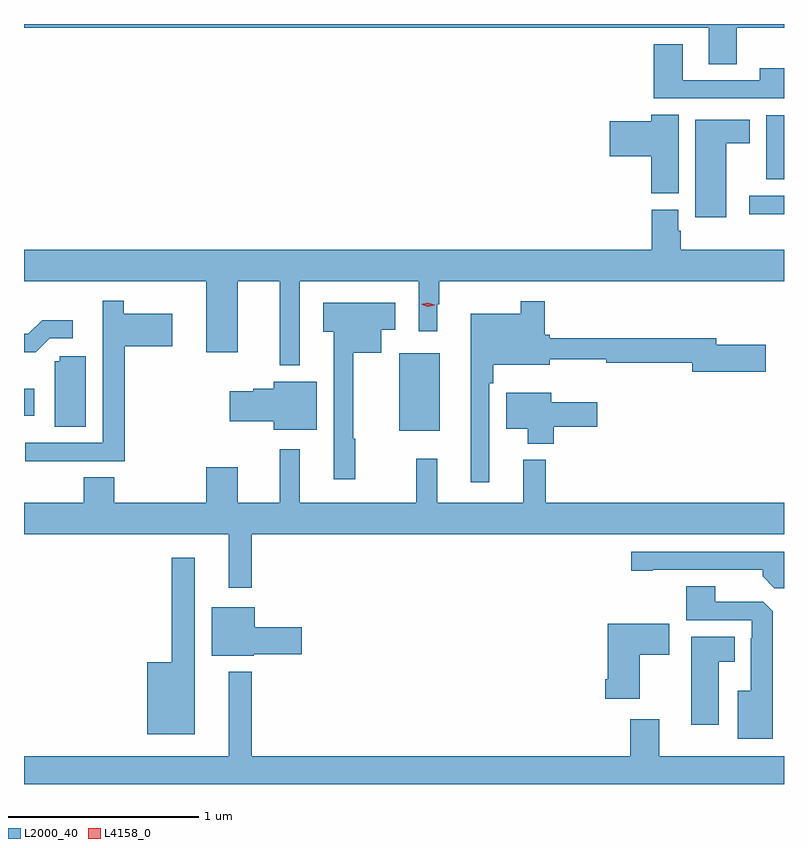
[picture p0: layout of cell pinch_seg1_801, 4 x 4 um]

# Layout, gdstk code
import gdstk
lib = gdstk.Library(unit=1e-6, precision=1e-09)
def R(c, l, rs):  # rectangles x0, y0, x1, y1
    for r in rs: c.add(gdstk.rectangle(r[:2], r[2:], *l))
def P(c, l, *ps):  # polygons
    for p in ps: c.add(gdstk.Polygon(p, *l))
L2000_40 = (2000, 40)
L4158_0 = (4158, 0)

pinch_seg1_801 = lib.new_cell('pinch_seg1_801')
R(pinch_seg1_801, L2000_40, [(417.77,558.935,417.985,559.345), (415.796,559.016,415.849,559.156), (419.613,560.075,419.796,560.172), (419.702,560.261,419.796,560.596)])
P(pinch_seg1_801, L2000_40, [(419.547,561.056),(419.796,561.056),(419.796,561.077),(415.796,561.077),(415.796,561.056),(419.399,561.056),(419.399,560.866),(419.547,560.866)],
  [(419.796,560.845),(419.668,560.845),(419.668,560.781),(419.263,560.781),(419.263,560.971),(419.111,560.971),(419.111,560.685),(419.796,560.685)],
  [(419.242,560.6),(419.096,560.6),(419.096,560.564),(418.878,560.564),(418.878,560.381),(419.096,560.381),(419.096,560.185),(419.242,560.185)],
  [(419.491,560.45),(419.617,560.45),(419.617,560.572),(419.33,560.572),(419.33,560.06),(419.491,560.06)],
  [(417.247,559.724),(417.873,559.724),(417.873,559.461),(417.97,559.461),(417.97,559.601),(417.982,559.601),(417.982,559.724),(419.796,559.724),(419.796,559.888),(419.252,559.888),(419.252,559.989),(419.239,559.989),(419.239,560.1),(419.099,560.1),(419.099,559.888),(415.796,559.888),(415.796,559.724),(416.756,559.724),(416.756,559.35),(416.92,559.35),(416.92,559.724),(417.143,559.724),(417.143,559.28),(417.247,559.28)],
  [(416.027,558.777),(416.327,558.777),(416.327,559.382),(416.575,559.382),(416.575,559.552),(416.32,559.552),(416.32,559.621),(416.21,559.621),(416.21,559.398),(416.211,559.398),(416.211,558.873),(415.803,558.873),(415.803,558.775),(416.027,558.775)],
  [(418.245,559.187),(418.265,559.187),(418.265,559.283),(418.564,559.283),(418.564,559.312),(418.86,559.312),(418.86,559.294),(419.312,559.294),(419.312,559.247),(419.701,559.247),(419.701,559.389),(419.44,559.389),(419.44,559.423),(418.564,559.423),(418.564,559.441),(418.538,559.441),(418.538,559.618),(418.41,559.618),(418.41,559.552),(418.148,559.552),(418.148,558.666),(418.245,558.666)],
  [(417.539,558.893),(417.529,558.893),(417.529,559.346),(417.676,559.346),(417.676,559.469),(417.751,559.469),(417.751,559.609),(417.371,559.609),(417.371,559.457),(417.425,559.457),(417.425,558.681),(417.539,558.681)],
  [(415.932,559.422),(416.053,559.422),(416.053,559.519),(415.891,559.519),(415.818,559.446),(415.796,559.446),(415.796,559.349),(415.859,559.349)],
  [(416.122,559.329),(415.983,559.329),(415.983,559.302),(415.958,559.302),(415.958,558.958),(416.122,558.958)],
  [(417.337,559.195),(417.11,559.195),(417.11,559.157),(417.003,559.157),(417.003,559.144),(416.88,559.144),(416.88,558.986),(417.11,558.986),(417.11,558.941),(417.337,558.941)],
  [(418.583,558.958),(418.813,558.958),(418.813,559.087),(418.57,559.087),(418.57,559.135),(418.334,559.135),(418.334,558.947),(418.448,558.947),(418.448,558.869),(418.583,558.869)],
  [(416.995,558.392),(419.796,558.392),(419.796,558.556),(418.541,558.556),(418.541,558.784),(418.424,558.784),(418.424,558.556),(417.971,558.556),(417.971,558.79),(417.861,558.79),(417.861,558.556),(417.247,558.556),(417.247,558.838),(417.143,558.838),(417.143,558.556),(416.92,558.556),(416.92,558.745),(416.756,558.745),(416.756,558.556),(416.271,558.556),(416.271,558.692),(416.111,558.692),(416.111,558.556),(415.796,558.556),(415.796,558.392),(416.873,558.392),(416.873,558.111),(416.995,558.111)],
  [(419.796,558.3),(418.992,558.3),(418.992,558.199),(419.104,558.199),(419.104,558.204),(419.684,558.204),(419.684,558.17),(419.745,558.108),(419.796,558.108)],
  [(416.695,558.268),(416.574,558.268),(416.574,557.719),(416.444,557.719),(416.444,557.339),(416.695,557.339)],
  [(419.737,557.987),(419.688,558.036),(419.434,558.036),(419.434,558.119),(419.282,558.119),(419.282,557.94),(419.625,557.94),(419.625,557.843),(419.621,557.843),(419.621,557.569),(419.552,557.569),(419.552,557.315),(419.737,557.315)],
  [(417.006,557.759),(417.259,557.759),(417.259,557.901),(417.01,557.901),(417.01,558.007),(416.783,558.007),(416.783,557.753),(417.006,557.753)],
  [(419.038,557.758),(419.191,557.758),(419.191,557.92),(418.868,557.92),(418.868,557.629),(418.856,557.629),(418.856,557.525),(419.038,557.525)],
  [(419.452,557.72),(419.536,557.72),(419.536,557.851),(419.309,557.851),(419.309,557.388),(419.452,557.388)],
  [(419.796,557.224),(419.14,557.224),(419.14,557.419),(418.988,557.419),(418.988,557.224),(416.995,557.224),(416.995,557.668),(416.873,557.668),(416.873,557.224),(415.796,557.224),(415.796,557.077),(419.796,557.077)])
P(pinch_seg1_801, L4158_0, [(417.921,559.59),(417.886,559.601),(417.886,559.602),(417.886,559.602),(417.922,559.61),(417.958,559.599),(417.958,559.598),(417.958,559.598)])

lib.write_gds('pinch_seg1_801.gds')
